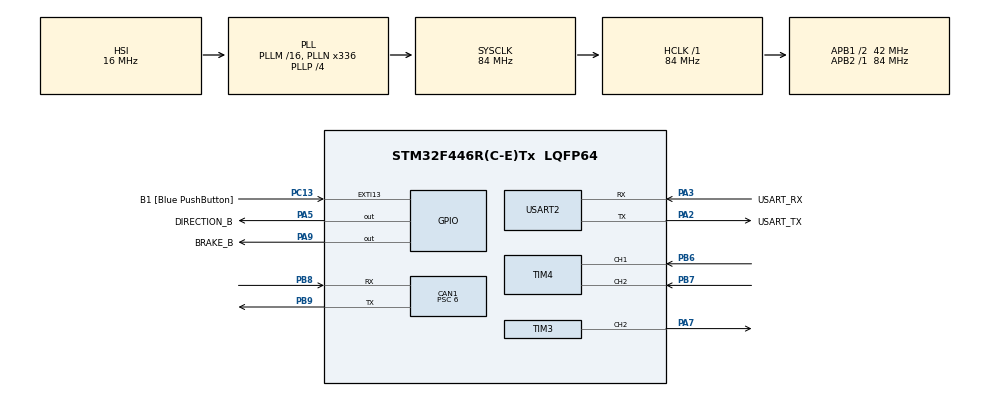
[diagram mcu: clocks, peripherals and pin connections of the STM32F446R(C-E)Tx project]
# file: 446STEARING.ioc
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CAN1.BS1=CAN_BS1_11TQ
CAN1.BS2=CAN_BS2_2TQ
CAN1.CalculateBaudRate=500000
CAN1.CalculateTimeBit=2000
CAN1.CalculateTimeQuantum=142.85714285714286
CAN1.Prescaler=6
Mcu.Family=STM32F4
Mcu.Name=STM32F446R(C-E)Tx
Mcu.Package=LQFP64
NVIC.PriorityGroup=NVIC_PRIORITYGROUP_0
PA13.GPIO_Label=TMS
PA13.Mode=Serial_Wire
PA13.Signal=SYS_JTMS-SWDIO
PA14.GPIO_Label=TCK
PA14.Mode=Serial_Wire
PA14.Signal=SYS_JTCK-SWCLK
PA2.GPIO_Label=USART_TX
PA2.Mode=Asynchronous
PA2.Signal=USART2_TX
PA3.GPIO_Label=USART_RX
PA3.Mode=Asynchronous
PA3.Signal=USART2_RX
PA5.GPIO_Label=DIRECTION_B
PA5.Signal=GPIO_Output
PA7.Signal=S_TIM3_CH2
PA9.GPIO_Label=BRAKE_B
PA9.Signal=GPIO_Output
PB3.GPIO_Label=SWO
PB3.Signal=SYS_JTDO-SWO
PB6.Signal=S_TIM4_CH1
PB7.Signal=S_TIM4_CH2
PB8.Mode=CAN_Activate
PB8.Signal=CAN1_RX
PB9.Mode=CAN_Activate
PB9.Signal=CAN1_TX
PC13.GPIO_Label=B1 [Blue PushButton]
PC13.GPIO_ModeDefaultEXTI=GPIO_MODE_IT_FALLING
PC13.Signal=GPXTI13
PC14-OSC32_IN.Mode=LSE-External-Oscillator
PC14-OSC32_IN.Signal=RCC_OSC32_IN
PC15-OSC32_OUT.Mode=LSE-External-Oscillator
PC15-OSC32_OUT.Signal=RCC_OSC32_OUT
PH0-OSC_IN.Mode=HSE-External-Oscillator
PH0-OSC_IN.Signal=RCC_OSC_IN
PH1-OSC_OUT.Mode=HSE-External-Oscillator
PH1-OSC_OUT.Signal=RCC_OSC_OUT
ProjectManager.HeapSize=0x200
ProjectManager.StackSize=0x400
ProjectManager.TargetToolchain=STM32CubeIDE
RCC.48MHZClocksFreq_Value=84000000
RCC.AHBFreq_Value=84000000
RCC.APB1CLKDivider=RCC_HCLK_DIV2
RCC.APB1Freq_Value=42000000
RCC.APB1TimFreq_Value=84000000
RCC.APB2Freq_Value=84000000
RCC.APB2TimFreq_Value=84000000
RCC.CortexFreq_Value=84000000
RCC.FLatency-AdvancedSettings=FLASH_LATENCY_2
RCC.HCLKFreq_Value=84000000
RCC.HSE_VALUE=8000000
RCC.HSI_VALUE=16000000
RCC.PLLN=336
RCC.PLLP=RCC_PLLP_DIV4
RCC.SYSCLKFreq_VALUE=84000000
RCC.SYSCLKSource=RCC_SYSCLKSOURCE_PLLCLK
RCC.USBFreq_Value=168000000
RCC.VCOOutputFreq_Value=336000000
SH.S_TIM3_CH2.0=TIM3_CH2,PWM Generation2 CH2
SH.S_TIM4_CH1.0=TIM4_CH1,Encoder_Interface
SH.S_TIM4_CH2.0=TIM4_CH2,Encoder_Interface
TIM3.Channel-PWM\ Generation2\ CH2=TIM_CHANNEL_2
TIM3.Period=1000-1
TIM3.Prescaler=90-1
TIM4.EncoderMode=TIM_ENCODERMODE_TI12
USART2.VirtualMode=VM_ASYNC
VP_TIM3_VS_ClockSourceINT.Mode=Internal
board=NUCLEO-F446RE

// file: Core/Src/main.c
/* USER CODE BEGIN Header */
/**
  ******************************************************************************
  * @file           : main.c
  * @brief          : Main program body
  ******************************************************************************
  * @attention
  *
  * Copyright (c) 2026 STMicroelectronics.
  * All rights reserved.
  *
  * This software is licensed under terms that can be found in the LICENSE file
  * in the root directory of this software component.
  * If no LICENSE file comes with this software, it is provided AS-IS.
  *
  ******************************************************************************
  */
/* USER CODE END Header */
#include "main.h"

/* USER CODE BEGIN Includes */
#include <stdio.h>
#include <stdlib.h>
#include <math.h>
#include <string.h>
#include <can_message.h>
/* USER CODE END Includes */

CAN_HandleTypeDef hcan1;

TIM_HandleTypeDef htim3;
TIM_HandleTypeDef htim4;

UART_HandleTypeDef huart2;

/* USER CODE BEGIN PV */

#define SAMPLE_SIZE 30
float angle_buffer[SAMPLE_SIZE];
int buffer_index = 0;

float physical_std_dev = 0.0f;
float current_angle = 0.0f;

// CAN 명세 반영 변수
uint16_t can_std_raw = 0;      // Factor 0.01 (StdDev * 100)
int16_t  can_angle_raw = 0;    // Factor 0.1 (Angle * 10)
uint8_t  alive_cnt = 0;        // 0~15 Rolling Counter
uint8_t  err_flag = 0;         // 0:OK, 1:EncoderFail

uint32_t last_cycle_tick = 0;
char uart_buf[120];

CAN_TxHeaderTypeDef txHeader;
Chassis_Data_t sChassis;
uint32_t txMailbox;

/* USER CODE END PV */

void SystemClock_Config(void);
static void MX_GPIO_Init(void);
static void MX_CAN1_Init(void);
static void MX_TIM3_Init(void);
static void MX_TIM4_Init(void);
static void MX_USART2_UART_Init(void);
/* USER CODE BEGIN PFP */

float Calculate_Physical_StdDev(float *data, int size);
void CAN_Send_Chassis_Status(void);

/* USER CODE END PFP */

int main(void)
{

  /* MCU Configuration--------------------------------------------------------*/

  /* Reset of all peripherals, Initializes the Flash interface and the Systick. */
  HAL_Init();

  /* Configure the system clock */
  SystemClock_Config();

  /* Initialize all configured peripherals */
  MX_GPIO_Init();
  MX_CAN1_Init();
  MX_TIM3_Init();
  MX_TIM4_Init();
  MX_USART2_UART_Init();
  /* USER CODE BEGIN 2 */

  // 1. CAN 필터 기본 설정 (모든 메시지 수용)
  CAN_FilterTypeDef  sFilterConfig;
  sFilterConfig.FilterBank = 0;
  sFilterConfig.FilterMode = CAN_FILTERMODE_IDMASK;
  sFilterConfig.FilterScale = CAN_FILTERSCALE_32BIT;
  sFilterConfig.FilterIdHigh = 0x0000;
  sFilterConfig.FilterIdLow = 0x0000;
  sFilterConfig.FilterMaskIdHigh = 0x0000;
  sFilterConfig.FilterMaskIdLow = 0x0000;
  sFilterConfig.FilterFIFOAssignment = CAN_RX_FIFO0;
  sFilterConfig.FilterActivation = ENABLE;
  HAL_CAN_ConfigFilter(&hcan1, &sFilterConfig);

  // 2. 주변기기 시작
  HAL_TIM_Encoder_Start(&htim4, TIM_CHANNEL_ALL);
  HAL_CAN_Start(&hcan1);

  // 브레이크 해제
  HAL_GPIO_WritePin(GPIOA, BRAKE_B_Pin, GPIO_PIN_RESET);
  /* USER CODE END 2 */

  /* Infinite loop */
  /* USER CODE BEGIN WHILE */
  while (1)
  {
	  if (HAL_GetTick() - last_cycle_tick >= 100) {
	          last_cycle_tick = HAL_GetTick();

	          // [Step 1] 데이터 읽기 및 변환
	          int16_t raw_cnt = (int16_t)__HAL_TIM_GET_COUNTER(&htim4);
	          current_angle = (float)raw_cnt * (360.0f / 384.0f);

	          angle_buffer[buffer_index] = current_angle;
	          buffer_index = (buffer_index + 1) % SAMPLE_SIZE;

	          physical_std_dev = Calculate_Physical_StdDev(angle_buffer, SAMPLE_SIZE);

	          // [Step 2] 명세서 Factor 적용
	          // StdDev: Factor 0.01 -> 실제값 * 100
	          can_std_raw = (uint16_t)(physical_std_dev * 100.0f);
	          // Angle: Factor 0.1 -> 실제값 * 10
	          can_angle_raw = (int16_t)(current_angle * 10.0f);

	          // [Step 3] CAN 송신
	          CAN_Send_Chassis_Status();

	          // [Step 4] 디버깅 출력 (8바이트 전체 덤프)
	          uint8_t *pDebug = (uint8_t*)&sChassis; // 구조체를 바이트 포인터로 참조

	          int len = sprintf(uart_buf, "Ang:%6.1f|Std:%5.2f|Alive:%2d|Raw:[%02X %02X %02X %02X %02X %02X %02X %02X]\r\n",
	                            current_angle, physical_std_dev, alive_cnt,
	                            pDebug[0], pDebug[1], pDebug[2], pDebug[3],
	                            pDebug[4], pDebug[5], pDebug[6], pDebug[7]); // 7번 인덱스까지 모두 출력

	          HAL_UART_Transmit(&huart2, (uint8_t*)uart_buf, len, 100);
	      }
	      HAL_Delay(1);
    /* USER CODE END WHILE */

  }
}

void SystemClock_Config(void)
{
  RCC_OscInitTypeDef RCC_OscInitStruct = {0};
  RCC_ClkInitTypeDef RCC_ClkInitStruct = {0};

  /** Configure the main internal regulator output voltage
  */
  __HAL_RCC_PWR_CLK_ENABLE();
  __HAL_PWR_VOLTAGESCALING_CONFIG(PWR_REGULATOR_VOLTAGE_SCALE3);

  /** Initializes the RCC Oscillators according to the specified parameters
  * in the RCC_OscInitTypeDef structure.
  */
  RCC_OscInitStruct.OscillatorType = RCC_OSCILLATORTYPE_HSI;
  RCC_OscInitStruct.HSIState = RCC_HSI_ON;
  RCC_OscInitStruct.HSICalibrationValue = RCC_HSICALIBRATION_DEFAULT;
  RCC_OscInitStruct.PLL.PLLState = RCC_PLL_ON;
  RCC_OscInitStruct.PLL.PLLSource = RCC_PLLSOURCE_HSI;
  RCC_OscInitStruct.PLL.PLLM = 16;
  RCC_OscInitStruct.PLL.PLLN = 336;
  RCC_OscInitStruct.PLL.PLLP = RCC_PLLP_DIV4;
  RCC_OscInitStruct.PLL.PLLQ = 2;
  RCC_OscInitStruct.PLL.PLLR = 2;
  if (HAL_RCC_OscConfig(&RCC_OscInitStruct) != HAL_OK)
  {
    Error_Handler();
  }

  /** Initializes the CPU, AHB and APB buses clocks
  */
  RCC_ClkInitStruct.ClockType = RCC_CLOCKTYPE_HCLK|RCC_CLOCKTYPE_SYSCLK
                              |RCC_CLOCKTYPE_PCLK1|RCC_CLOCKTYPE_PCLK2;
  RCC_ClkInitStruct.SYSCLKSource = RCC_SYSCLKSOURCE_PLLCLK;
  RCC_ClkInitStruct.AHBCLKDivider = RCC_SYSCLK_DIV1;
  RCC_ClkInitStruct.APB1CLKDivider = RCC_HCLK_DIV2;
  RCC_ClkInitStruct.APB2CLKDivider = RCC_HCLK_DIV1;

  if (HAL_RCC_ClockConfig(&RCC_ClkInitStruct, FLASH_LATENCY_2) != HAL_OK)
  {
    Error_Handler();
  }
}

static void MX_CAN1_Init(void)
{

  hcan1.Instance = CAN1;
  hcan1.Init.Prescaler = 6;
  hcan1.Init.Mode = CAN_MODE_NORMAL;
  hcan1.Init.SyncJumpWidth = CAN_SJW_1TQ;
  hcan1.Init.TimeSeg1 = CAN_BS1_11TQ;
  hcan1.Init.TimeSeg2 = CAN_BS2_2TQ;
  hcan1.Init.TimeTriggeredMode = DISABLE;
  hcan1.Init.AutoBusOff = DISABLE;
  hcan1.Init.AutoWakeUp = DISABLE;
  hcan1.Init.AutoRetransmission = DISABLE;
  hcan1.Init.ReceiveFifoLocked = DISABLE;
  hcan1.Init.TransmitFifoPriority = DISABLE;
  if (HAL_CAN_Init(&hcan1) != HAL_OK)
  {
    Error_Handler();
  }

}

static void MX_TIM3_Init(void)
{

  TIM_ClockConfigTypeDef sClockSourceConfig = {0};
  TIM_MasterConfigTypeDef sMasterConfig = {0};
  TIM_OC_InitTypeDef sConfigOC = {0};

  htim3.Instance = TIM3;
  htim3.Init.Prescaler = 90-1;
  htim3.Init.CounterMode = TIM_COUNTERMODE_UP;
  htim3.Init.Period = 1000-1;
  htim3.Init.ClockDivision = TIM_CLOCKDIVISION_DIV1;
  htim3.Init.AutoReloadPreload = TIM_AUTORELOAD_PRELOAD_DISABLE;
  if (HAL_TIM_Base_Init(&htim3) != HAL_OK)
  {
    Error_Handler();
  }
  sClockSourceConfig.ClockSource = TIM_CLOCKSOURCE_INTERNAL;
  if (HAL_TIM_ConfigClockSource(&htim3, &sClockSourceConfig) != HAL_OK)
  {
    Error_Handler();
  }
  if (HAL_TIM_PWM_Init(&htim3) != HAL_OK)
  {
    Error_Handler();
  }
  sMasterConfig.MasterOutputTrigger = TIM_TRGO_RESET;
  sMasterConfig.MasterSlaveMode = TIM_MASTERSLAVEMODE_DISABLE;
  if (HAL_TIMEx_MasterConfigSynchronization(&htim3, &sMasterConfig) != HAL_OK)
  {
    Error_Handler();
  }
  sConfigOC.OCMode = TIM_OCMODE_PWM1;
  sConfigOC.Pulse = 0;
  sConfigOC.OCPolarity = TIM_OCPOLARITY_HIGH;
  sConfigOC.OCFastMode = TIM_OCFAST_DISABLE;
  if (HAL_TIM_PWM_ConfigChannel(&htim3, &sConfigOC, TIM_CHANNEL_2) != HAL_OK)
  {
    Error_Handler();
  }
  HAL_TIM_MspPostInit(&htim3);

}

static void MX_TIM4_Init(void)
{

  TIM_Encoder_InitTypeDef sConfig = {0};
  TIM_MasterConfigTypeDef sMasterConfig = {0};

  htim4.Instance = TIM4;
  htim4.Init.Prescaler = 0;
  htim4.Init.CounterMode = TIM_COUNTERMODE_UP;
  htim4.Init.Period = 65535;
  htim4.Init.ClockDivision = TIM_CLOCKDIVISION_DIV1;
  htim4.Init.AutoReloadPreload = TIM_AUTORELOAD_PRELOAD_DISABLE;
  sConfig.EncoderMode = TIM_ENCODERMODE_TI12;
  sConfig.IC1Polarity = TIM_ICPOLARITY_RISING;
  sConfig.IC1Selection = TIM_ICSELECTION_DIRECTTI;
  sConfig.IC1Prescaler = TIM_ICPSC_DIV1;
  sConfig.IC1Filter = 0;
  sConfig.IC2Polarity = TIM_ICPOLARITY_RISING;
  sConfig.IC2Selection = TIM_ICSELECTION_DIRECTTI;
  sConfig.IC2Prescaler = TIM_ICPSC_DIV1;
  sConfig.IC2Filter = 0;
  if (HAL_TIM_Encoder_Init(&htim4, &sConfig) != HAL_OK)
  {
    Error_Handler();
  }
  sMasterConfig.MasterOutputTrigger = TIM_TRGO_RESET;
  sMasterConfig.MasterSlaveMode = TIM_MASTERSLAVEMODE_DISABLE;
  if (HAL_TIMEx_MasterConfigSynchronization(&htim4, &sMasterConfig) != HAL_OK)
  {
    Error_Handler();
  }

}

static void MX_USART2_UART_Init(void)
{

  huart2.Instance = USART2;
  huart2.Init.BaudRate = 115200;
  huart2.Init.WordLength = UART_WORDLENGTH_8B;
  huart2.Init.StopBits = UART_STOPBITS_1;
  huart2.Init.Parity = UART_PARITY_NONE;
  huart2.Init.Mode = UART_MODE_TX_RX;
  huart2.Init.HwFlowCtl = UART_HWCONTROL_NONE;
  huart2.Init.OverSampling = UART_OVERSAMPLING_16;
  if (HAL_UART_Init(&huart2) != HAL_OK)
  {
    Error_Handler();
  }

}

static void MX_GPIO_Init(void)
{
  GPIO_InitTypeDef GPIO_InitStruct = {0};

  /* GPIO Ports Clock Enable */
  __HAL_RCC_GPIOC_CLK_ENABLE();
  __HAL_RCC_GPIOH_CLK_ENABLE();
  __HAL_RCC_GPIOA_CLK_ENABLE();
  __HAL_RCC_GPIOB_CLK_ENABLE();

  /*Configure GPIO pin Output Level */
  HAL_GPIO_WritePin(GPIOA, DIRECTION_B_Pin|BRAKE_B_Pin, GPIO_PIN_RESET);

  /*Configure GPIO pin : B1_Pin */
  GPIO_InitStruct.Pin = B1_Pin;
  GPIO_InitStruct.Mode = GPIO_MODE_IT_FALLING;
  GPIO_InitStruct.Pull = GPIO_NOPULL;
  HAL_GPIO_Init(B1_GPIO_Port, &GPIO_InitStruct);

  /*Configure GPIO pins : DIRECTION_B_Pin BRAKE_B_Pin */
  GPIO_InitStruct.Pin = DIRECTION_B_Pin|BRAKE_B_Pin;
  GPIO_InitStruct.Mode = GPIO_MODE_OUTPUT_PP;
  GPIO_InitStruct.Pull = GPIO_NOPULL;
  GPIO_InitStruct.Speed = GPIO_SPEED_FREQ_LOW;
  HAL_GPIO_Init(GPIOA, &GPIO_InitStruct);

}

/* USER CODE BEGIN 4 */

/**
 * @brief Calculate Standard Deviation and apply CAN factor
 * @param data: pointer to angle buffer
 * @param size: number of samples
 * @return float: Physical standard deviation value
 */
float Calculate_Physical_StdDev(float *data, int size) {
    double sum = 0;
    double mean = 0.0;
    double variance_sum = 0.0;

    for(int i = 0; i < size; i++) sum += data[i];
    mean = sum / size;

    for(int i = 0; i < size; i++) {
        variance_sum += pow(data[i] - mean, 2);
    }

    return (float)sqrt(variance_sum / size);
}

/**
 * @brief Send Chassis_Data (0x201) via CAN
 * @param raw_std: 16-bit value (Physical StdDev * 10)
 */
void CAN_Send_Chassis_Status(void) {
    txHeader.StdId = CAN_ID_CHASSIS; // 0x201
    txHeader.IDE = CAN_ID_STD;
    txHeader.RTR = CAN_RTR_DATA;
    txHeader.DLC = 8;

    // 1. 구조체 초기화 (이전 데이터 잔상 제거)
    memset(&sChassis, 0, sizeof(Chassis_Data_t));

    // 2. 리틀 엔디언 방식으로 데이터 직접 대입
    sChassis.steering_std_dev = (uint16_t)(physical_std_dev * 100.0f);
    sChassis.steering_angle   = (int16_t)(current_angle * 10.0f);
    sChassis.alive_cnt = alive_cnt;
    sChassis.err_flag  = err_flag;

    // 3. 별도의 TxData 배열 없이 구조체 주소를 직접 전달 (캐스팅 활용)
    if (HAL_CAN_GetTxMailboxesFreeLevel(&hcan1) > 0) {
        // (uint8_t*)&sChassis 를 통해 구조체를 8바이트 배열처럼 취급합니다.
        HAL_CAN_AddTxMessage(&hcan1, &txHeader, (uint8_t*)&sChassis, &txMailbox);
    }

    alive_cnt = (alive_cnt + 1) % 16;
}
/* USER CODE END 4 */

void Error_Handler(void)
{
  __disable_irq();
  while (1)
  {
  }
}
